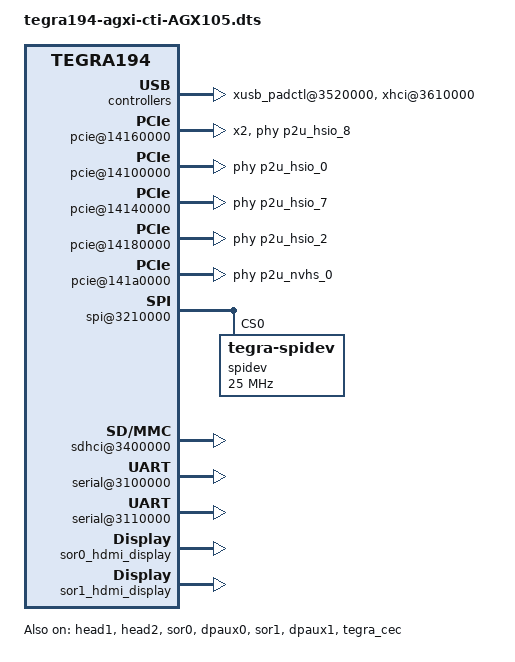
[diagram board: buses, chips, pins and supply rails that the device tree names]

#include "../../galen/kernel-dts/cti/tegra194-agx-cti-base.dtsi"
#include "../../galen/kernel-dts/cti/cti_common/tegra194-agx-cti-AGX111-USBC.dtsi"
#include "../common/tegra194-p2888-0008-p2822-0000.dtsi"
/{

    nvidia,dtsfilename = "tegra194-agxi-cti-AGX105.dts";

    xusb_padctl@3520000 {
        status = "okay";
        pads {
            usb2 {
                lanes {
                    usb2-0 {
                        status = "okay";
                    };
                    usb2-1 {
                        status = "okay";
                    };
                    usb2-2 {
                        status = "okay";
                    };
                    usb2-3 {
                        status = "okay";
                    };
                };
            };
            usb3 {
                lanes {
                    usb3-0 {
                        status = "okay";
                    };
                    usb3-1 {
                        status = "disabled";
                    };
                    usb3-2 {
                        status = "okay";
                    };
                    usb3-3 {
                        status = "okay";
                    };
                };
            };
        };
        ports {
            usb2-0 {
                status = "okay";
                vbus-supply = <&vdd_usb_vbus0>;
            };
            usb2-1 {
                status = "okay";
                vbus-supply = <&vdd_usb_vbus0>;
            };
            usb2-2 {
                status = "okay";
            };
            usb2-3 {
                status = "okay";
                vbus-supply = <&vdd_usb_vbus0>;
            };
            usb3-0 {
                nvidia,usb2-companion = <1>;
            //    nvidia,usb3-gen1-only= <1>;
                status = "okay";
            };
            usb3-1{
            //    nvidia,usb2-companion = <1>;
            //    nvidia,usb3-gen1-only= <1>;
                status = "disabled";
            };
            usb3-2 {
                nvidia,usb2-companion = <0>;
            //    nvidia,usb3-gen1-only= <1>;
                status = "okay";
            };
            usb3-3 {
                nvidia,usb2-companion = <3>;
            //    nvidia,usb3-gen1-only= <1>;
                status = "okay";
            };
        };
    };

    xhci@3610000 {
        status = "okay";
        phys = <&{/xusb_padctl@3520000/pads/usb2/lanes/usb2-0}>,
            <&{/xusb_padctl@3520000/pads/usb2/lanes/usb2-1}>,
            <&{/xusb_padctl@3520000/pads/usb2/lanes/usb2-3}>,
            <&{/xusb_padctl@3520000/pads/usb2/lanes/usb2-2}>,
            <&{/xusb_padctl@3520000/pads/usb3/lanes/usb3-0}>,
            <&{/xusb_padctl@3520000/pads/usb3/lanes/usb3-2}>,
            <&{/xusb_padctl@3520000/pads/usb3/lanes/usb3-3}>;
        phy-names = "usb2-0", "usb2-1", "usb2-3", "usb2-2",
                    "usb3-0", "usb3-2", "usb3-3";
    };
	
	//Nvme enable
    pcie@14160000 {
        status = "okay";
        num-lanes=<2>;      //supports only 2 lanes
        phys =  <&p2u_hsio_8>,
				<&p2u_hsio_9>;
        phy-names = "p2u-0", "p2u-1";

    };

    pcie@14100000 {
        status = "okay";
        phys = <&p2u_hsio_0>;
        phy-names = "p2u-0";
    };

    pcie@14140000 {
        status = "okay";
        phys = <&p2u_hsio_7>;
        phy-names = "p2u-0";
    };

    pcie@14180000 {
        status = "okay";
        phys = <&p2u_hsio_2>, <&p2u_hsio_3>, <&p2u_hsio_4>, <&p2u_hsio_5>;
        phy-names = "p2u-0", "p2u-1", "p2u-2", "p2u-3";

    };

    pcie@141a0000 {
        status = "okay";

        phys =  <&p2u_nvhs_0>, <&p2u_nvhs_1>, <&p2u_nvhs_2>, <&p2u_nvhs_3>;

        phy-names = "p2u-0", "p2u-1", "p2u-2", "p2u-3";
    };

    spi@3210000{
        status = "okay";
        spidev@0 {
            compatible = "tegra-spidev";
            reg = <0>;
            spi-max-frequency = <25000000>;
        };
    };
	
	//enabling i/o
	sdhci@3400000{
		status = "okay";
	};
	
	serial@3100000{
		status = "okay";
	};
	
	serial@3110000{
		status = "okay";
	};
	
	mttcan@c310000{
		status = "okay";
	};
	
	mttcan@c320000{
		status = "okay";
	};	
	
	/*clocks-init{
		status = "okay";
	};*/

};

//sor0
&head1 {
    status = "okay";
};

//sor1
&head2 {
    status = "okay";
};

&sor0 {
    status = "okay";
    nvidia,active-panel = <&sor0_hdmi_display>;
};

&sor0_hdmi_display {
    status = "okay";
};

&dpaux0 {
    status = "okay";
};

&sor1 {
    status = "okay";
    nvidia,active-panel = <&sor1_hdmi_display>;
};

&sor1_hdmi_display {
    status = "okay";
};

&dpaux1 {
    status = "okay";
};

&tegra_cec {
    status = "okay";
};

